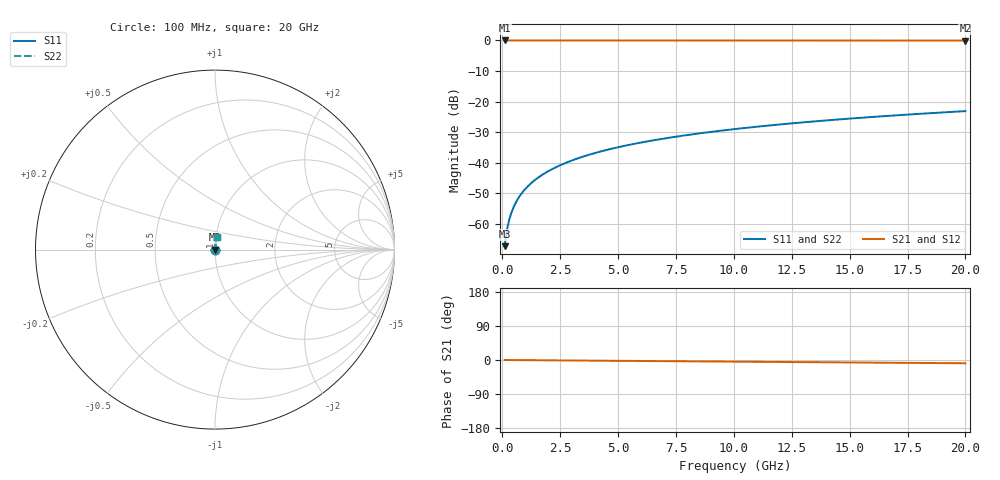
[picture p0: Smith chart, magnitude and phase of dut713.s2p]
! Touchstone file exported from HFSS 2026.1.0
!  File:  C:/ffzhzh/LocalFiles/Ansys_Project_Files/temp_train_TSV_713_1783182088_51560.aedt
!  Generated:  12:23:25 AM Jul  5, 2026
!  Design:  TSV
!  Project:  temp_train_TSV_713_1783182088_51560
! Variables:
!  h_bsmrdl = 2um
!  h_ox = 20um
!  h_rdl = 5um
!  h_sub = 69.58um
!  h_tmrdl = 5um
!  h_tsv = 69.58um
!  h_via = 3um
!  l_bsmrdl = 300um
!  l_sub = 414.06um
!  l_tmrdl = 200um
!  m_sub = 200um
!  pitch = 56.52um
!  r_tsv = 7.03um
!  s_tmrdl = 10um
!  w_bsmrdl = 18um
!  w_sub = 500um
!  w_tmrdl = 12um
!  x_tsv_center1 = 206um
!  x_tsv_center2 = 524um
!  x_tsv_center3 = 736um
!  x_tsv_center4 = 1054um
!  x_tsv_center5 = 1266um
!  x_tsv_center6 = 1584um
# GHz S MA R 50.000000
! Terminal data exported
! Port[1] = TSV1_1_T1
! Port[2] = TSV1_1_T2
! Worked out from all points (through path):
!   200 points, 100 MHz to 20 GHz, reference 50 ohm
!   highest |S21| = 0.00 dB at 100 MHz (marker M1); lowest = 0.0 dB at 20 GHz (marker M2)
!   group delay of S21, straight-line fit = 1.19 ps
!   lowest |S11| = -67.2 dB at 100 MHz (marker M3), VSWR 1.00, Z = 50 + j0.039 ohm
!   |S11| at or under -10 dB: start of sweep to end of sweep
!   |S22| runs from -67.2 to -23.1 dB; largest |S21 - S12| = 3.9e-15
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0.1  0.0004361 63.4  0.9998 -0.0  0.9998 -0.0  0.0004361 63.4
! Gamma 0 0 0 0
! Port Impedance 50 0 50 0
0.2  0.0008046 75.3  0.9998 -0.1  0.9998 -0.1  0.0008046 75.3
0.3  0.001184 79.3  0.9998 -0.1  0.9998 -0.1  0.001184 79.3
0.4  0.001563 81.2  0.9998 -0.2  0.9998 -0.2  0.001563 81.2
0.5  0.001939 82.3  0.9997 -0.2  0.9997 -0.2  0.001939 82.3
0.6  0.002312 83.0  0.9997 -0.3  0.9997 -0.3  0.002312 83.0
0.7  0.002682 83.5  0.9997 -0.3  0.9997 -0.3  0.002682 83.5
0.8  0.003049 83.8  0.9997 -0.4  0.9997 -0.4  0.003049 83.8
1  0.003776 84.3  0.9996 -0.4  0.9996 -0.4  0.003776 84.3
1.4  0.005216 85.0  0.9996 -0.6  0.9996 -0.6  0.005216 85.0
1.7  0.00629 85.3  0.9995 -0.7  0.9995 -0.7  0.00629 85.3
2  0.007363 85.5  0.9995 -0.9  0.9995 -0.9  0.007363 85.5
2.7  0.009861 85.8  0.9994 -1.2  0.9994 -1.2  0.009861 85.8
3.5  0.01271 85.8  0.9993 -1.5  0.9993 -1.5  0.01271 85.8
4.2  0.01519 85.7  0.9992 -1.8  0.9992 -1.8  0.01519 85.7
5  0.01802 85.6  0.9991 -2.2  0.9991 -2.2  0.01802 85.6
6.8  0.02435 85.1  0.9989 -3.0  0.9989 -3.0  0.02435 85.1
8.3  0.02961 84.6  0.9986 -3.6  0.9986 -3.6  0.02961 84.6
10.1  0.03589 84.0  0.9983 -4.4  0.9983 -4.4  0.03589 84.0
13.4  0.04736 82.8  0.9977 -5.8  0.9977 -5.8  0.04736 82.8
16.7  0.05877 81.5  0.997 -7.2  0.997 -7.2  0.05877 81.5
20  0.07008 80.2  0.9961 -8.6  0.9961 -8.6  0.07008 80.2
